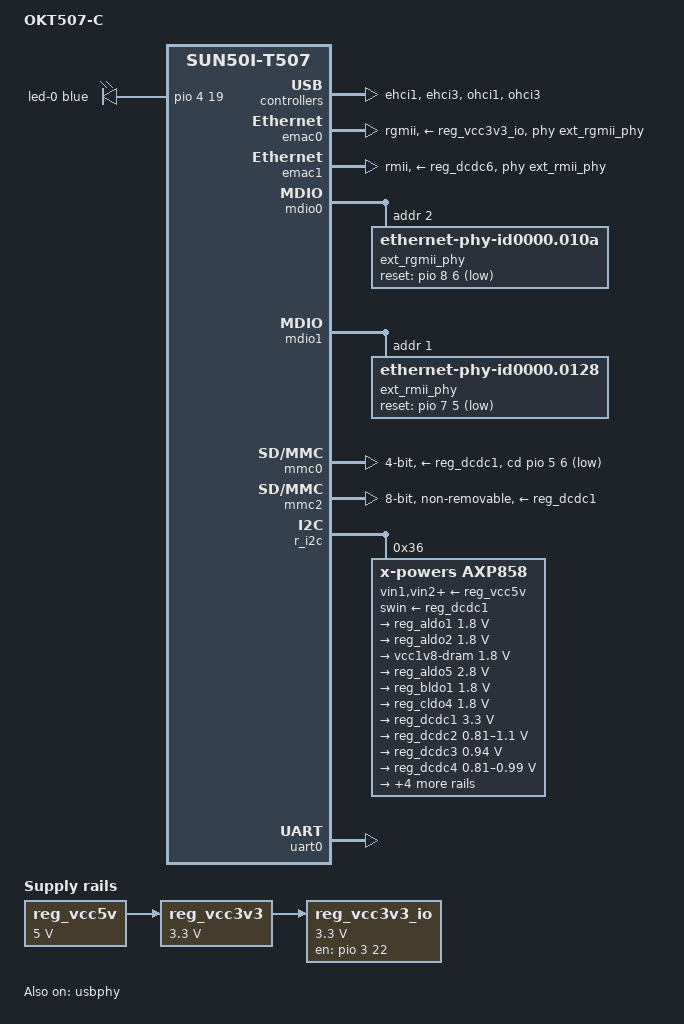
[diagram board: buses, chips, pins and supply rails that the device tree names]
// SPDX-License-Identifier: (GPL-2.0+ OR MIT)
/*
 * Copyright (C) 2024 Jernej Skrabec <jernej.skrabec@gmail.com>
 */

/dts-v1/;

#include "sun50i-h616.dtsi"

#include <dt-bindings/gpio/gpio.h>
#include <dt-bindings/interrupt-controller/arm-gic.h>
#include <dt-bindings/leds/common.h>

/ {
	model = "OKT507-C";
	compatible = "myir,myd-yt507h", "allwinner,sun50i-t507";

	aliases {
		ethernet0 = &emac0;
		ethernet1 = &emac1;
		serial0 = &uart0;
	};

	chosen {
		stdout-path = "serial0:115200n8";
	};

	leds {
		compatible = "gpio-leds";

		led-0 {
			function = LED_FUNCTION_POWER;
			color = <LED_COLOR_ID_BLUE>;
			gpios = <&pio 4 19 GPIO_ACTIVE_HIGH>; /* PE19 */
			default-state = "on";
		};
	};

	reg_vcc5v: vcc5v {
		compatible = "regulator-fixed";
		regulator-name = "vcc-5v";
		regulator-min-microvolt = <5000000>;
		regulator-max-microvolt = <5000000>;
		regulator-always-on;
	};

	reg_vcc3v3: vcc3v3 {
		compatible = "regulator-fixed";
		vin-supply = <&reg_vcc5v>;
		regulator-name = "vcc-3v3";
		regulator-min-microvolt = <3300000>;
		regulator-max-microvolt = <3300000>;
		regulator-always-on;
	};

	reg_vcc3v3_io: vcc3v3-io {
		compatible = "regulator-fixed";
		vin-supply = <&reg_vcc3v3>;
		regulator-name = "vcc-3v3-io";
		regulator-min-microvolt = <3300000>;
		regulator-max-microvolt = <3300000>;
		enable-active-high;
		gpio = <&pio 3 22 GPIO_ACTIVE_HIGH>; /* PD22 */
	};
};

&cpu0 {
	cpu-supply = <&reg_dcdc2>;
};

&ehci1 {
	status = "okay";
};

&ehci3 {
	status = "okay";
};

&emac0 {
	pinctrl-names = "default";
	pinctrl-0 = <&ext_rgmii_pins>;
	phy-handle = <&ext_rgmii_phy>;
	allwinner,tx-delay-ps = <500>;
	allwinner,rx-delay-ps = <1400>;
	phy-mode = "rgmii";
	phy-supply = <&reg_vcc3v3_io>;
	status = "okay";
};

&emac1 {
	pinctrl-names = "default";
	pinctrl-0 = <&rmii_pins>;
	phy-mode = "rmii";
	phy-handle = <&ext_rmii_phy>;
	phy-supply = <&reg_dcdc6>;
	allwinner,tx-delay-ps = <700>;
	allwinner,rx-delay-ps = <0>;
	status = "okay";
};

&mdio0 {
	ext_rgmii_phy: ethernet-phy@2 {
		compatible = "ethernet-phy-id0000.010a",
			     "ethernet-phy-ieee802.3-c22";
		reg = <2>;
		clocks = <&ccu CLK_EMAC_25M>;
		reset-gpios = <&pio 8 6 GPIO_ACTIVE_LOW>; /* PI6 */
		reset-assert-us = <100000>;
		reset-deassert-us = <10000>;
		motorcomm,clk-out-frequency-hz = <125000000>;
	};
};

&mdio1 {
	ext_rmii_phy: ethernet-phy@1 {
		compatible = "ethernet-phy-id0000.0128",
			     "ethernet-phy-ieee802.3-c22";
		reg = <1>;
		reset-gpios = <&pio 7 5 GPIO_ACTIVE_LOW>; /* PH5 */
		reset-assert-us = <100000>;
		reset-deassert-us = <10000>;
	};
};

&mmc0 {
	cd-gpios = <&pio 5 6 GPIO_ACTIVE_LOW>;	/* PF6 */
	vmmc-supply = <&reg_dcdc1>;
	bus-width = <4>;
	status = "okay";
};

&mmc2 {
	vmmc-supply = <&reg_dcdc1>;
	vqmmc-supply = <&reg_aldo1>;
	bus-width = <8>;
	non-removable;
	cap-mmc-hw-reset;
	mmc-hs200-1_8v;
	status = "okay";
};

&ohci1 {
	status = "okay";
};

&ohci3 {
	status = "okay";
};

&pio {
	vcc-pa-supply = <&reg_dcdc1>;
	vcc-pc-supply = <&reg_aldo1>;
	vcc-pd-supply = <&reg_sw>;
	vcc-pe-supply = <&reg_aldo5>;
	vcc-pf-supply = <&reg_dcdc1>;
	vcc-pg-supply = <&reg_dcdc1>;
	vcc-ph-supply = <&reg_dcdc1>;
	vcc-pi-supply = <&reg_dcdc6>;
};

&r_i2c {
	status = "okay";

	axp858: pmic@36 {
		compatible = "x-powers,axp858",
			     "x-powers,axp15060";
		reg = <0x36>;
		#interrupt-cells = <1>;
		interrupt-controller;
		/*interrupt-parent = <&r_intc>;
		interrupts = <0 IRQ_TYPE_LEVEL_LOW>;*/

		vin1-supply = <&reg_vcc5v>;
		vin2-supply = <&reg_vcc5v>;
		vin3-supply = <&reg_vcc5v>;
		vin4-supply = <&reg_vcc5v>;
		vin5-supply = <&reg_vcc5v>;
		vin6-supply = <&reg_vcc5v>;
		aldoin-supply = <&reg_vcc5v>;
		bldoin-supply = <&reg_vcc5v>;
		cldoin-supply = <&reg_vcc5v>;
		ips-supply = <&reg_vcc5v>;
		swin-supply = <&reg_dcdc1>;

		regulators {
			reg_aldo1: aldo1 {
				regulator-always-on;
				regulator-min-microvolt = <1800000>;
				regulator-max-microvolt = <1800000>;
				regulator-name = "vcc1v8-emmc";
			};

			reg_aldo2: aldo2 {
				regulator-always-on;
				regulator-min-microvolt = <1800000>;
				regulator-max-microvolt = <1800000>;
				regulator-name = "vcc1v8-pll-sd";
			};

			aldo3 {
				/* unused */
			};

			aldo4 {
				regulator-always-on;
				regulator-min-microvolt = <1800000>;
				regulator-max-microvolt = <1800000>;
				regulator-name = "vcc1v8-dram";
			};

			reg_aldo5: aldo5 {
				regulator-always-on;
				regulator-min-microvolt = <2800000>;
				regulator-max-microvolt = <2800000>;
				regulator-name = "vcc3v3-pe-cam";
			};

			reg_bldo1: bldo1 {
				regulator-min-microvolt = <1800000>;
				regulator-max-microvolt = <1800000>;
				regulator-name = "vcc1v8-hdmi-lvds-mcsi";
			};

			bldo2 {
				/* unused */
			};

			bldo3 {
				/* unused */
			};

			bldo4 {
				/* unused */
			};

			bldo5 {
				/* unused */
			};

			cldo1 {
				/* unused */
			};

			cldo2 {
				/* unused */
			};

			cldo3 {
				/* unused */
			};

			reg_cldo4: cldo4 {
				regulator-min-microvolt = <1800000>;
				regulator-max-microvolt = <1800000>;
				regulator-name = "vcc1v8-tv";
			};

			cpusldo {
				/* unused */
			};

			reg_dcdc1: dcdc1 {
				regulator-always-on;
				regulator-min-microvolt = <3300000>;
				regulator-max-microvolt = <3300000>;
				regulator-name = "vcc3v3-io-pa-pg-usb-sd-emmc";
			};

			reg_dcdc2: dcdc2 {
				regulator-always-on;
				regulator-min-microvolt = <810000>;
				regulator-max-microvolt = <1100000>;
				regulator-name = "vdd-cpu";
			};

			reg_dcdc3: dcdc3 {
				regulator-always-on;
				regulator-min-microvolt = <940000>;
				regulator-max-microvolt = <940000>;
				regulator-name = "vdd-sys";
			};

			reg_dcdc4: dcdc4 {
				regulator-min-microvolt = <810000>;
				regulator-max-microvolt = <990000>;
				regulator-name = "vdd-gpu";
			};

			reg_dcdc5: dcdc5 {
				regulator-always-on;
				regulator-min-microvolt = <1100000>;
				regulator-max-microvolt = <1100000>;
				regulator-name = "vdd-dram";
			};

			reg_dcdc6: dcdc6 {
				regulator-min-microvolt = <3300000>;
				regulator-max-microvolt = <3300000>;
				regulator-name = "vcc3v3-pi";
			};

			rtc-ldo {
				/* RTC_LDO is a fixed, always-on regulator */
				regulator-always-on;
				regulator-min-microvolt = <1800000>;
				regulator-max-microvolt = <1800000>;
				regulator-name = "rtc-ldo";
			};

			reg_sw: sw {
				regulator-name = "vcc-lcd-pd";
			};
		};
	};
};

&uart0 {
	pinctrl-names = "default";
	pinctrl-0 = <&uart0_ph_pins>;
	status = "okay";
};

&usbphy {
	status = "okay";
	usb1_vbus-supply = <&reg_vcc5v>;
	usb3_vbus-supply = <&reg_vcc5v>;
};
